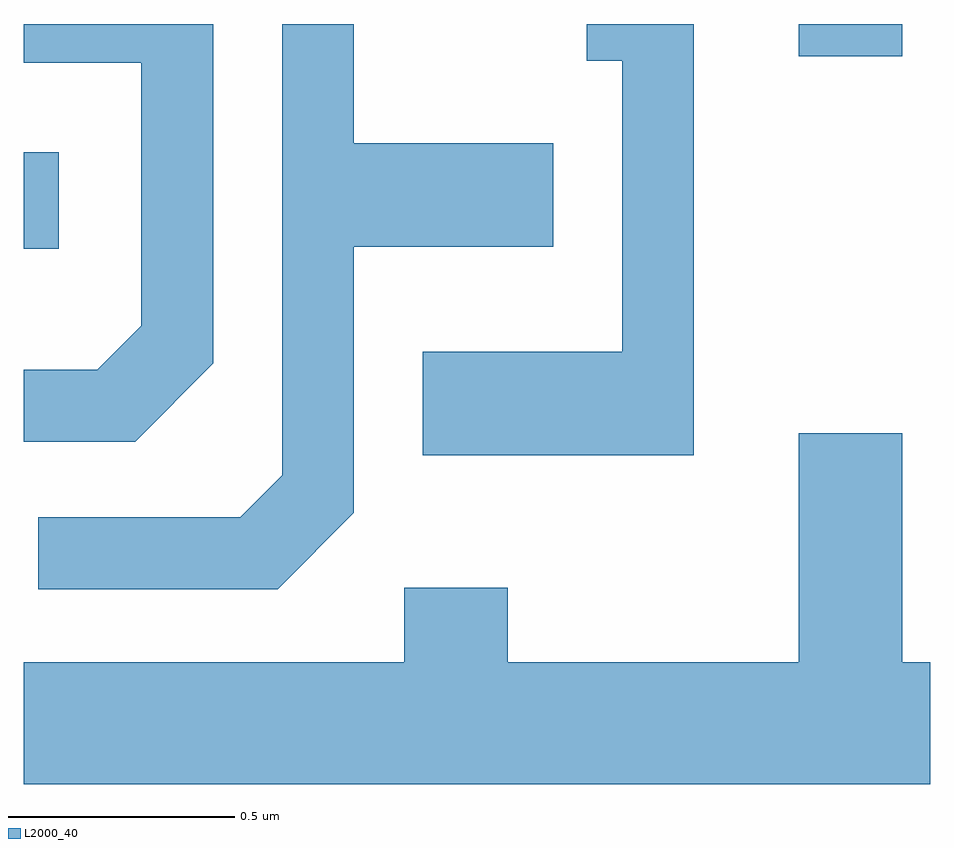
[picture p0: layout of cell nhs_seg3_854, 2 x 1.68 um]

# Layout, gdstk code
import gdstk
lib = gdstk.Library(unit=1e-6, precision=1e-09)
def R(c, l, rs):  # rectangles x0, y0, x1, y1
    for r in rs: c.add(gdstk.rectangle(r[:2], r[2:], *l))
def P(c, l, *ps):  # polygons
    for p in ps: c.add(gdstk.Polygon(p, *l))
L2000_40 = (2000, 40)

nhs_seg3_854 = lib.new_cell('nhs_seg3_854')
R(nhs_seg3_854, L2000_40, [(191.611,1149.396,191.689,1149.609), (193.321,1149.821,193.549,1149.892)])
P(nhs_seg3_854, L2000_40, [(192.339,1148.814),(192.339,1149.401),(192.779,1149.401),(192.779,1149.629),(192.339,1149.629),(192.339,1149.892),(192.181,1149.892),(192.181,1148.897),(192.089,1148.804),(191.643,1148.804),(191.643,1148.646),(192.172,1148.646)],
  [(192.029,1149.144),(192.029,1149.892),(191.611,1149.892),(191.611,1149.806),(191.871,1149.806),(191.871,1149.227),(191.774,1149.129),(191.611,1149.129),(191.611,1148.971),(191.857,1148.971)],
  [(193.089,1149.892),(192.853,1149.892),(192.853,1149.811),(192.931,1149.811),(192.931,1149.169),(192.491,1149.169),(192.491,1148.941),(193.089,1148.941)],
  [(193.611,1148.484),(193.549,1148.484),(193.549,1148.989),(193.321,1148.989),(193.321,1148.484),(192.679,1148.484),(192.679,1148.649),(192.451,1148.649),(192.451,1148.484),(191.611,1148.484),(191.611,1148.216),(193.611,1148.216)])

lib.write_gds('nhs_seg3_854.gds')
